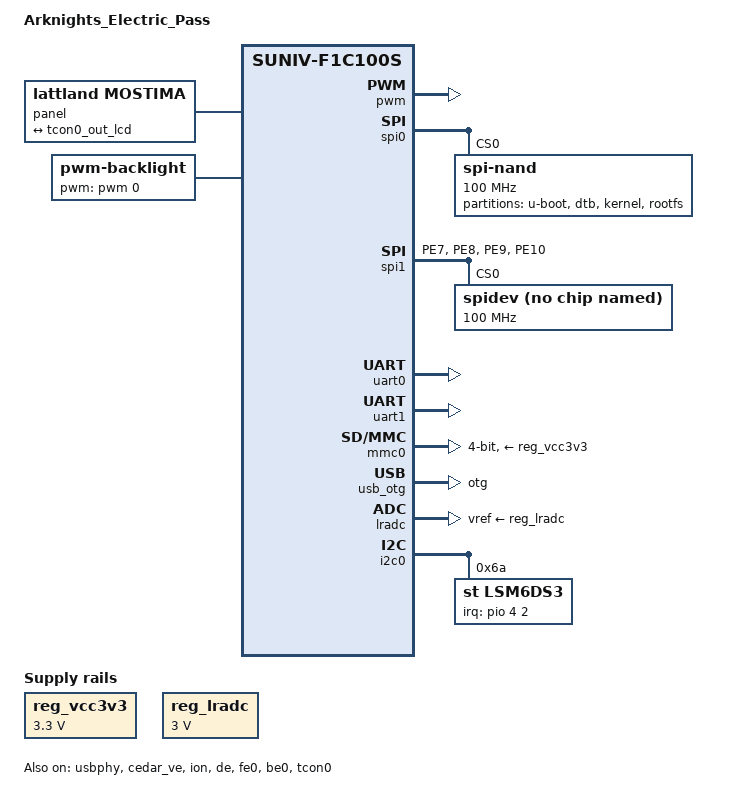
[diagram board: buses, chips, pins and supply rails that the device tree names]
// SPDX-License-Identifier: (GPL-2.0+ OR X11)

/dts-v1/;
#include "suniv-f1c100s.dtsi"
#include <dt-bindings/input/input.h>

/ {
	model = "Arknights_Electric_Pass";
	compatible = "rhodesisland,electric-pass",
	         "allwinner,suniv-f1c200s",
			 "allwinner,suniv-f1c100s";

	chosen {
		#address-cells = <1>;
		#size-cells = <1>;
		ranges;

		// this bootargs will not work. change bootargs in uboot!
		bootargs = "serial0:115200n8 console=ttyS0,115200 console=tty0 earlyprintk rootwait init=/preinit root=/dev/mtdblock2 rootfstype=squashfs overlayfsdev=/dev/mtdblock3 fbcon=rotate:2 debug drm.debug=0x1ff";

		// simplefb_lcd: framebuffer-lcd0 {
		// 	compatible = "allwinner,simple-framebuffer",
		// 		     "simple-framebuffer";
		// 	allwinner,pipeline = "de_be0-lcd0";
		// 	clocks = <&ccu CLK_BUS_DE_BE>, <&ccu CLK_DE_BE>,
		// 		 <&ccu CLK_DRAM_DE_BE>, <&ccu CLK_BUS_LCD>,
		// 		 <&ccu CLK_TCON>;
		// 	status = "disabled";
		// };
	};

		panel: panel {
		// compatible = "qiaodian,qd43003c0-40", "simple-panel";	// 4.3 inch,480x272
		//compatible = "foxlink,fl500wvr00-a0t", "simple-panel";	// 4.3 & 5 inch,800x480
		//compatible = "hongxiangrui,hxr401-40", "simple-panel";	// 480x480
		//compatible = "huadi,hd395004c40-40", "simple-panel";	// 720x720
		//compatible = "avic,tm070ddh03", "simple-panel";	// 1024x600
		compatible = "lattland,mostima", "simple-panel";	// 360x640 3 inch

		#address-cells = <1>;
		#size-cells = <0>;

		port@0 {
			reg = <0>;
			#address-cells = <1>;
			#size-cells = <0>;

			panel_input: endpoint@0 {
				reg = <0>;
				remote-endpoint = <&tcon0_out_lcd>;
			};
		};
	};
	reg_vcc3v3: vcc3v3 {
		compatible = "regulator-fixed";
		regulator-name = "vcc3v3";
		regulator-min-microvolt = <3300000>;
		regulator-max-microvolt = <3300000>;
	};

	reg_lradc: reg_lradc {
		compatible = "regulator-fixed";
		regulator-name = "lradc_vref";
		regulator-min-microvolt = <3000000>;
		regulator-max-microvolt = <3000000>;
	};

	backlight {
		compatible = "pwm-backlight";
		pwms = <&pwm 0 10000 0>;
		

		brightness-levels = <0 4 8 16 32 64 128 196 255>;
		default-brightness-level = <6>;
	};

	// reserved-memory {
    //       #address-cells = <1>;
    //       #size-cells = <1>;
    //       ranges;
	// 	  cedar_reserved: cedar_reserved@80100000 {
	// 			compatible = "shared-dma-pool";
	// 			reg = <0x80100000 0xc0000>;
	// 			no-map;
	// 		};
	// };
};

&pio{


	spi1_pins: spi1-pins {
		pins = "PE7","PE8", "PE9", "PE10";
		function = "spi1";
		bias-pull-up;
	};

	rtp_pins_01: rtp-pins-01 {
			pins = "PA0", "PA1";
			function = "rtp";
		};

};

&pwm {
	pinctrl-names = "default";
	pinctrl-0 = <&pwm0_pe_pins>;
	status = "okay";
};


&spi0 {
	status = "okay";

	spi-nor@0 {
		#address-cells = <1>;
		#size-cells = <1>;
		compatible = "winbond,w25q128", "jedec,spi-nor";
		reg = <0>;
		spi-max-frequency = <50000000>;
		status = "disabled";

		partitions {
			compatible = "fixed-partitions";
			#address-cells = <1>;
			#size-cells = <1>;

			partition@0 {
				label = "u-boot";
				reg = <0x000000 0x70000>;
				read-only;
			};

			partition@1 {
				label = "kernel";
				reg = <0x70000 0x590000>;
				read-only;
			};

			partition@2 {
				label = "rom";
				reg = <0x600000 0x700000>;
				read-only;
			};

			partition@3 {
				label = "overlay";
				reg = <0xd00000 0x300000>;
			};
		};
	};

	spi-nand@0 {
		#address-cells = <1>;
		#size-cells = <1>;
		compatible = "spi-nand";
		reg = <0>;
		spi-max-frequency = <100000000>;
		status = "okay";

		partitions {
			compatible = "fixed-partitions";
			#address-cells = <1>;
			#size-cells = <1>;

			partition@0 {
				label = "u-boot";
				reg = <0x000000 0x100000>;
				read-only;
			};

			partition@1 {
				label = "dtb";
				reg = <0x100000 0x20000>;
				read-only;
			};

			partition@2 {
				label = "kernel";
				reg = <0x120000 0x500000>;
				read-only;
			};

			partition@3 {
				label = "rootfs";
				reg = <0x620000 0x79E0000>;
			};
		};
	};
};

&spi1 {
	pinctrl-names = "default";
	pinctrl-0 = <&spi1_pins>;
	status = "okay";
	// cs-gpios = <&pio 4 7 GPIO_ACTIVE_HIGH>;/* PE7 */
	spidev@0 {
	   compatible = "rohm,dh2228fv";	/* Same as "spidev" but without errors at boot. Search "buggy DT" to understand */
	   spi-max-frequency = <100000000>;
	   reg = <0>;
	};
};

&uart0 {
	pinctrl-names = "default";
	pinctrl-0 = <&uart0_pe_pins>;
	status = "okay";
};
&uart1 {
	pinctrl-names = "default";
	pinctrl-0 = <&uart1_pa_pins>;
	status = "okay";
};

&mmc0 {	
	vmmc-supply = <&reg_vcc3v3>;
	bus-width = <4>;
	status = "okay";
	broken-cd;
};

&otg_sram {
	status = "okay";
};

&usb_otg {
	dr_mode = "otg"; /* otg host peripheral */
	status = "okay";
};

&usbphy {
	status = "okay";
};

&cedar_ve {
	status = "okay";
};

&ion {
	status = "okay";
};

&de {
	status = "okay";
};

&fe0 {
	status = "okay";
};

&be0 {
	status = "okay";
};

&tve0 {
	status = "disabled";
};

&rtp {
	status = "disabled";
	pinctrl-0 = <&rtp_pins_01>;
	pinctrl-names = "default";
};

&tcon0 {
	pinctrl-names = "default";
	pinctrl-0 = <&lcd_rgb565_pins>;
	status = "okay";
};

&tcon0_out {
	tcon0_out_lcd: endpoint@0 {
		reg = <0>;
		remote-endpoint = <&panel_input>;
	};
};

&lradc {
	vref-supply = <&reg_lradc>;
	status = "okay";

	button-num-1 {
		label = "Number_1";
		linux,code = <KEY_1>;
		channel = <0>;
		voltage = <1111111>;
	};

	button-num-2 {
		label = "Number_2";
		linux,code = <KEY_2>;
		channel = <0>;
		voltage = <825396>;
	};

	button-num-3 {
		label = "Number_3";
		linux,code = <KEY_3>;
		channel = <0>;
		voltage = <444444>;
	};

	button-num-4 {
		label = "Number_4";
		linux,code = <KEY_4>;
		channel = <0>;
		voltage = <0>;
	};
};



// &codec {
// 	allwinner,audio-routing =
// 		"Headphone", "HP",
// 		"Headphone", "HPCOM",
// 		"LINEIN", "Line In",
// 		"FMINL", "Left FM In",
// 		"FMINR", "Right FM In",
// 		"MIC", "Mic";
// 	status = "okay";
// };

&i2c0 {
	pinctrl-names = "default";
	pinctrl-0 = <&i2c0_pd_pins>;
	status = "okay";

	lsm6ds3:lsm6ds3@6a {
		compatible = "st,lsm6ds3";
		reg = <0x6a>;
		interrupt-parent = <&pio>;
		interrupts = <4 2 IRQ_TYPE_EDGE_FALLING>;/*(PE2)*/
	};
};

// &csi0 {
// 	pinctrl-names = "default";
// 	pinctrl-0 = <&csi0_pins>;
// 	packed-format;
// 	status = "okay";

// 	port {
// 		csi0_ep: endpoint {
// 			remote-endpoint = <&ov2640_ep>;
// 			bus-width = <8>;
// 			hsync-active = <0>;
// 			vsync-active = <0>;
// 			pclk-sample = <1>;
// 		};
// 	};
// };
